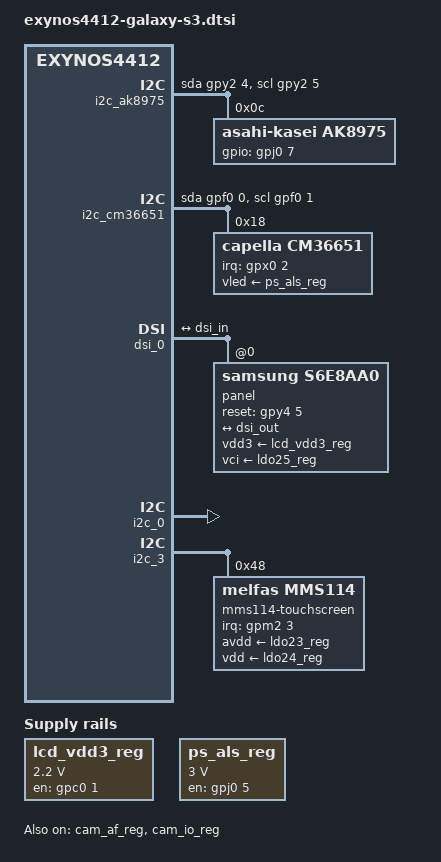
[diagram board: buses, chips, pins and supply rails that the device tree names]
/*
 * Device tree source for Samsung's Exynos4412-based Galaxy S3 boards
 *
 * Copyright (c) 2013 Samsung Electronics Co., Ltd.
 *	  http://www.samsung.com
 * Copyright (c) 2017 Simon Shields <simon@lineageos.org>
 *
 * This program is free software; you can redistribute it and/or modify
 * it under the terms of the GNU General Public License version 2 as
 * published by the Free Software Foundation
 */

#include "exynos4412-midas.dtsi"

// TODO: do we need to explicitly configure gpx pins used as interrupts?
// easy way to test is by trying cm36651 driver. If it works, we don't, otherwise we do
// does the kernel just rely on the bootloader to configure them?
// surely it can't hurt to configure them manually

/ {
	regulators {
		lcd_vdd3_reg: voltage-regulator-10 {
			compatible = "regulator-fixed";
			regulator-name = "LCD_VDD_2.2V";
			regulator-min-microvolt = <2200000>;
			regulator-max-microvolt = <2200000>;
			enable-active-high;
			gpio = <&gpc0 1 GPIO_ACTIVE_HIGH>;
		};

		ps_als_reg: voltage-regulator-11 {
			compatible = "regulator-fixed";
			regulator-name = "LED_A_3.0V";
			regulator-min-microvolt = <3000000>;
			regulator-max-microvolt = <3000000>;
			enable-active-high;
			gpio = <&gpj0 5 GPIO_ACTIVE_HIGH>;
		};
	};

	i2c_ak8975: i2c-gpio-10 {
		compatible = "i2c-gpio";
		gpios = <&gpy2 4 GPIO_ACTIVE_HIGH>, <&gpy2 5 GPIO_ACTIVE_HIGH>;
		i2c-gpio,delay-us = <2>;
		#address-cells = <1>;
		#size-cells = <0>;

		ak8975@0c {
			compatible = "asahi-kasei,ak8975";
			reg = <0x0c>;
			gpios = <&gpj0 7 GPIO_ACTIVE_HIGH>;
		};
	};

	i2c_cm36651: i2c-gpio-11 {
		compatible = "i2c-gpio";
		gpios = <&gpf0 0 GPIO_ACTIVE_LOW>, <&gpf0 1 GPIO_ACTIVE_LOW>;
		i2c-gpio,delay-us = <2>;
		#address-cells = <1>;
		#size-cells = <0>;

		cm36651@18 {
			compatible = "capella,cm36651";
			reg = <0x18>;
			interrupt-parent = <&gpx0>;
			interrupts = <2 2>;
			vled-supply = <&ps_als_reg>;
		};
	};
};

&buck9_reg {
	maxim,ena-gpios = <&gpm0 3 GPIO_ACTIVE_HIGH>;
};

&cam_af_reg {
	gpio = <&gpm0 4 GPIO_ACTIVE_HIGH>;
	status = "okay";
};

&cam_io_reg {
	gpio = <&gpm0 2 GPIO_ACTIVE_HIGH>;
	status = "okay";
};

&dsi_0 {
	vddcore-supply = <&ldo8_reg>;
	vddio-supply = <&ldo10_reg>;
	samsung,burst-clock-frequency = <500000000>;
	samsung,esc-clock-frequency = <20000000>;
	samsung,pll-clock-frequency = <24000000>;
	status = "okay";

	ports {
		#address-cells = <1>;
		#size-cells = <0>;

		port@1 {
			reg = <1>;

			dsi_out: endpoint {
				remote-endpoint = <&dsi_in>;
				samsung,burst-clock-frequency = <500000000>;
				samsung,esc-clock-frequency = <20000000>;
			};
		};
	};

	// T0 uses ea8061 or s6evr02
	panel@0 {
		compatible = "samsung,s6e8aa0";
		reg = <0>;
		vdd3-supply = <&lcd_vdd3_reg>;
		vci-supply = <&ldo25_reg>;
		reset-gpios = <&gpy4 5 GPIO_ACTIVE_HIGH>;
		power-on-delay= <50>;
		reset-delay = <100>;
		init-delay = <100>;
		flip-horizontal;
		flip-vertical;
		panel-width-mm = <58>;
		panel-height-mm = <103>;

		display-timings {
			timing-0 {
				clock-frequency = <57153600>;
				hactive = <720>;
				vactive = <1280>;
				hfront-porch = <5>;
				hback-porch = <5>;
				hsync-len = <5>;
				vfront-porch = <13>;
				vback-porch = <1>;
				vsync-len = <2>;
			};
		};

		port {
			dsi_in: endpoint {
				remote-endpoint = <&dsi_out>;
			};
		};
	};
};

&i2c_0 {
    status = "okay";

    pinctrl-0 = <&i2c0_bus>;
    pinctrl-names = "default";
};

&i2c_3 {
	samsung,i2c-sda-delay = <100>;
	samsung,i2c-slave-addr = <0x10>;
	samsung,i2c-max-bus-freq = <400000>;
	pinctrl-0 = <&i2c3_bus>;
	pinctrl-names = "default";
	status = "okay";

	mms114-touchscreen@48 {
		compatible = "melfas,mms114";
		reg = <0x48>;
		interrupt-parent = <&gpm2>;
		interrupts = <3 2>;
		x-size = <720>;
		y-size = <1280>;
		avdd-supply = <&ldo23_reg>;
		vdd-supply = <&ldo24_reg>;
	};
};

&submic_bias_reg {
	gpio = <&gpf2 0 GPIO_ACTIVE_HIGH>;
	enable-active-high;
};

&sound {
	samsung,audio-routing =
		"HP", "HPOUT1L",
		"HP", "HPOUT1R",

		"SPK", "SPKOUTLN",
		"SPK", "SPKOUTLP",
		"SPK", "SPKOUTRN",
		"SPK", "SPKOUTRP",

		"RCV", "HPOUT2N",
		"RCV", "HPOUT2P",

		"HDMI", "LINEOUT1N",
		"HDMI", "LINEOUT1P",

		"LINE", "LINEOUT2N",
		"LINE", "LINEOUT2P",

		"IN1LP", "MICBIAS1",
		"IN1LN", "MICBIAS1",
		"MICBIAS1", "Main Mic",

		"IN1RP", "Sub Mic",
		"IN1RN", "Sub Mic",

		"IN2LP:VXRN", "MICBIAS2",
		"MICBIAS2", "Headset Mic",

		"IN2RN", "FM In",
		"IN2RP:VXRP", "FM In";
};
